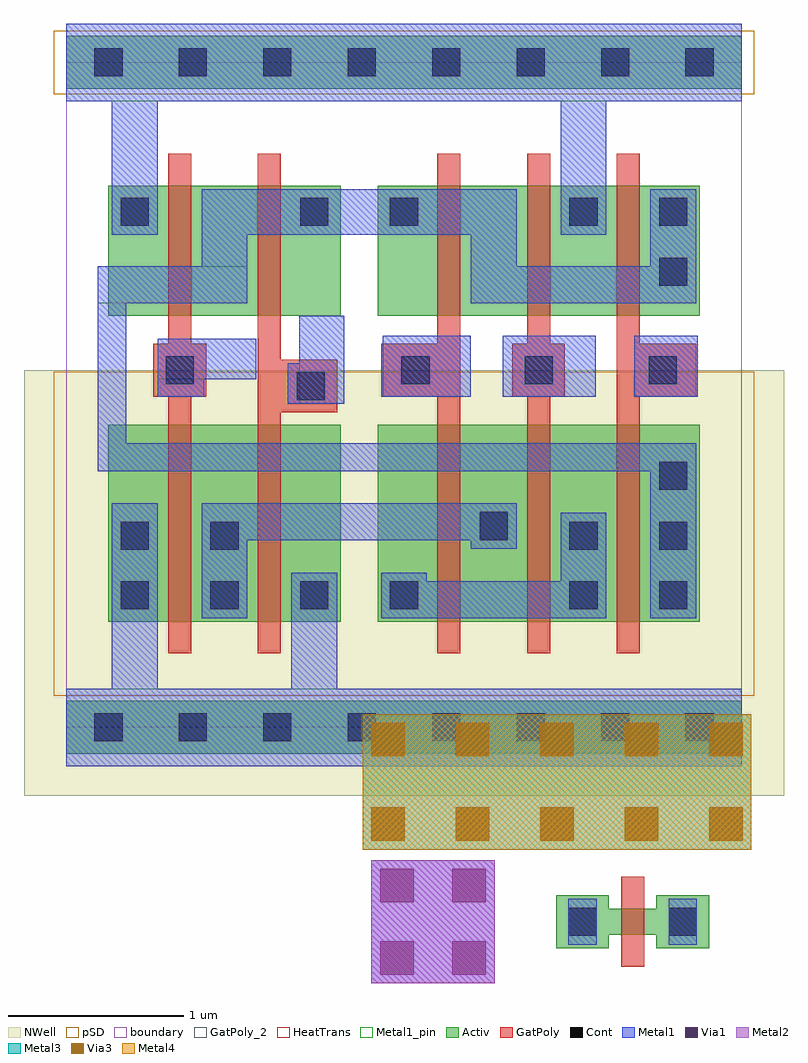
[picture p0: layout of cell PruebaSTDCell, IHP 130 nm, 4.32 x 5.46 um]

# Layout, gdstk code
from math import pi, radians
import gdstk
lib = gdstk.Library(unit=1e-6, precision=1e-09)
def R(c, l, rs):  # rectangles x0, y0, x1, y1
    for r in rs: c.add(gdstk.rectangle(r[:2], r[2:], *l))
def A(c, l, x, y, w, h, nx, ny, dx, dy):  # array of equal rectangles
    R(c, l, [(x+i*dx, y+j*dy, x+i*dx+w, y+j*dy+h) for i in range(nx) for j in range(ny)])
def P(c, l, *ps):  # polygons
    for p in ps: c.add(gdstk.Polygon(p, *l))
Activ = (1, 0)
GatPoly = (5, 0)
GatPoly_2 = (5, 2)
Cont = (6, 0)
Metal1 = (8, 0)
Metal1_pin = (8, 2)
Metal2 = (10, 0)
pSD = (14, 0)
Via1 = (19, 0)
Metal3 = (30, 0)
NWell = (31, 0)
Via3 = (49, 0)
Metal4 = (50, 0)
HeatTrans = (51, 0)
boundary = (189, 4)

via_stack = lib.new_cell('via_stack')
R(via_stack, Metal1, [(-0.35,-0.35,0.35,0.35)])
R(via_stack, Metal2, [(-0.35,-0.35,0.35,0.35)])
R(via_stack, Via1, [(-0.3,-0.3,-0.11,-0.11), (0.11,-0.3,0.3,-0.11), (-0.3,0.11,-0.11,0.3), (0.11,0.11,0.3,0.3)])

via_stack_1 = lib.new_cell('via_stack$1')
R(via_stack_1, Metal3, [(-0.385,-1.105,0.385,1.105)])
A(via_stack_1, Via3, -0.335, -1.055, 0.19, 0.19, 1, 5, 0, 0.48)
A(via_stack_1, Via3, 0.145, -1.055, 0.19, 0.19, 1, 5, 0, 0.48)
R(via_stack_1, Metal4, [(-0.385,-1.105,0.385,1.105)])

nmos = lib.new_cell('nmos')
R(nmos, Activ, [(0,0,0.3,0.3), (0.57,0,0.87,0.3), (0,0.075,0.87,0.225)])
R(nmos, GatPoly, [(0.37,-0.105,0.5,0.405)])
R(nmos, GatPoly_2, [(0.37,-0.105,0.5,0.405)])
R(nmos, Cont, [(0.07,0.07,0.23,0.23), (0.64,0.07,0.8,0.23)])
R(nmos, Metal1, [(0.07,0.02,0.23,0.28), (0.64,0.02,0.8,0.28)])
R(nmos, Metal1_pin, [(0.07,0.02,0.23,0.28), (0.64,0.02,0.8,0.28)])
R(nmos, HeatTrans, [(0.37,-0.105,0.5,0.405)])
nmos.add(gdstk.Label('nmos', (0.435,0.15), layer=63, texttype=0))
nmos.add(gdstk.Label('nmos', (0.435,0.15), layer=51, texttype=0))

sg13g2_a221oi_1 = lib.new_cell('sg13g2_a221oi_1')
R(sg13g2_a221oi_1, Activ, [(0,-0.15,3.84,0.15), (0.24,0.7,2.07,1.44), (2.28,0.7,3.6,1.44), (0.24,2.06,2.07,3.18), (2.28,2.06,3.6,3.18), (0,3.63,3.84,3.93)])
P(sg13g2_a221oi_1, GatPoly, [(1.6,0.52),(1.6,3.36),(1.73,3.36),(1.73,1.9),(2.05,1.9),(2.05,1.6),(1.73,1.6),(1.73,0.52)],
  [(0.58,0.52),(0.58,1.6),(0.26,1.6),(0.26,1.9),(0.58,1.9),(0.58,3.36),(0.71,3.36),(0.71,0.52)],
  [(3.13,0.52),(3.13,1.6),(3.045,1.6),(3.045,1.9),(3.13,1.9),(3.13,3.36),(3.26,3.36),(3.26,1.9),(3.345,1.9),(3.345,1.6),(3.26,1.6),(3.26,0.52)],
  [(1.09,0.52),(1.09,1.6),(1.005,1.6),(1.005,1.9),(1.09,1.9),(1.09,3.36),(1.22,3.36),(1.22,1.9),(1.305,1.9),(1.305,1.6),(1.22,1.6),(1.22,0.52)],
  [(2.62,0.52),(2.62,1.69),(2.3,1.69),(2.3,1.99),(2.62,1.99),(2.62,3.36),(2.75,3.36),(2.75,0.52)])
A(sg13g2_a221oi_1, Cont, 0.16, -0.08, 0.16, 0.16, 8, 2, 0.48, 3.78)
A(sg13g2_a221oi_1, Cont, 0.31, 2.27, 0.16, 0.16, 1, 3, 0, 0.34)
A(sg13g2_a221oi_1, Cont, 1.84, 2.95, 0.16, 0.16, 4, 1, 0.51, 0)
R(sg13g2_a221oi_1, Cont, [(0.31,0.77,0.47,0.93), (0.82,0.77,0.98,0.93), (1.84,0.77,2,0.93), (2.35,0.77,2.51,0.93), (3.37,0.77,3.53,0.93), (0.31,1.11,0.47,1.27), (0.37,1.67,0.53,1.83), (1.075,1.67,1.235,1.83), (1.775,1.67,1.935,1.83), (3.115,1.67,3.275,1.83), (2.37,1.76,2.53,1.92), (1.33,2.555,1.49,2.715), (0.82,2.61,0.98,2.77), (2.86,2.61,3.02,2.77), (3.37,2.61,3.53,2.77), (0.82,2.95,0.98,3.11)])
R(sg13g2_a221oi_1, Metal1, [(0.25,1.555,0.61,1.9), (0.83,1.555,1.36,1.9), (1.54,1.555,2.04,1.9)])
P(sg13g2_a221oi_1, Metal1, [(3.32,2.505),(3.32,3.56),(2.56,3.56),(2.56,2.9),(2.3,2.9),(2.3,3.56),(0,3.56),(0,4),(3.84,4),(3.84,3.56),(3.58,3.56),(3.58,2.505)],
  [(0.77,2.56),(0.77,3.16),(2.05,3.16),(2.05,2.9),(1.79,2.9),(1.79,2.95),(1.03,2.95),(1.03,2.56)],
  [(0.26,0.72),(0.26,1.37),(1.54,1.37),(1.54,0.98),(2.81,0.98),(2.81,1.37),(3.5,1.37),(3.5,2.165),(0.26,2.165),(0.26,3.16),(0.52,3.16),(0.52,2.325),(3.66,2.325),(3.66,1.16),(3.07,1.16),(3.07,0.72),(1.28,0.72),(1.28,1.16),(0.52,1.16),(0.52,0.72)],
  [(2.76,1.57),(2.76,1.8),(3.055,1.8),(3.055,1.9),(3.32,1.9),(3.32,1.57)],
  [(1.28,2.505),(1.28,2.765),(1.54,2.765),(1.54,2.715),(2.81,2.715),(2.81,3.16),(3.07,3.16),(3.07,2.505)],
  [(2.26,1.44),(2.26,1.94),(2.58,1.94),(2.58,1.71),(2.515,1.71),(2.515,1.44)],
  [(0,-0.22),(0,0.22),(0.77,0.22),(0.77,0.98),(1.03,0.98),(1.03,0.22),(3.32,0.22),(3.32,0.98),(3.58,0.98),(3.58,0.22),(3.84,0.22),(3.84,-0.22)])
R(sg13g2_a221oi_1, Metal1_pin, [(0,-0.22,3.84,0.22), (2.81,1.16,3.66,1.37), (2.26,1.44,2.515,1.94), (0.25,1.555,0.61,1.9), (0.83,1.555,1.36,1.9), (1.54,1.555,2.04,1.9), (2.76,1.57,3.32,1.8), (0,3.56,3.84,4)])
R(sg13g2_a221oi_1, pSD, [(-0.07,-0.18,3.91,0.18), (-0.07,1.76,3.91,3.6)])
R(sg13g2_a221oi_1, NWell, [(-0.24,1.75,4.08,4.17)])
R(sg13g2_a221oi_1, boundary, [(0,0,3.84,3.78)])
sg13g2_a221oi_1.add(gdstk.Label('C1', (0.445,1.735), layer=8, texttype=25))
sg13g2_a221oi_1.add(gdstk.Label('Y', (3.36,1.26), layer=8, texttype=25))
sg13g2_a221oi_1.add(gdstk.Label('B2', (1.12,1.735), layer=8, texttype=25))
sg13g2_a221oi_1.add(gdstk.Label('B1', (1.865,1.68), layer=8, texttype=25))
sg13g2_a221oi_1.add(gdstk.Label('A2', (3.155,1.74), layer=8, texttype=25))
sg13g2_a221oi_1.add(gdstk.Label('VDD', (1.93,3.78), layer=8, texttype=25))
sg13g2_a221oi_1.add(gdstk.Label('A1', (2.35,1.54), layer=8, texttype=25))
sg13g2_a221oi_1.add(gdstk.Label('VSS', (1.84,-0.02), layer=8, texttype=25))

pruebastdcell = lib.new_cell('PruebaSTDCell')
pruebastdcell.add(gdstk.Reference(via_stack, (-0.16,0.765)))
pruebastdcell.add(gdstk.Reference(via_stack_1, (0.545,1.56), rotation=pi/2))
pruebastdcell.add(gdstk.Reference(nmos, (1.41,0.915), rotation=pi))
pruebastdcell.add(gdstk.Reference(sg13g2_a221oi_1, (1.595,5.65), rotation=pi))

lib.write_gds('PruebaSTDCell.gds')
